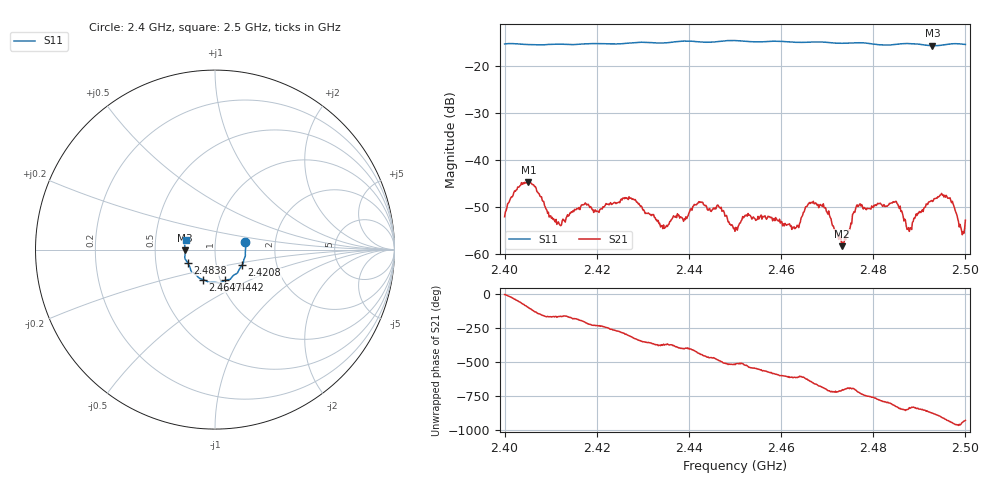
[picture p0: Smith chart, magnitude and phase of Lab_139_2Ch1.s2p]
# Hz S RI R 50
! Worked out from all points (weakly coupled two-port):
!   601 points, 2.4 GHz to 2.5 GHz, reference 50 ohm
!   highest |S21| = -44.77 dB at 2.4052 GHz (marker M1); lowest = -58.4 dB at 2.4732 GHz (marker M2)
!   lowest |S11| = -15.6 dB at 2.4928 GHz (marker M3), VSWR 1.40, Z = 35.8 - j0.364 ohm
!   |S11| at or under -10 dB: start of sweep to end of sweep
!   S12 and S22 are empty: the file has one direction only
!   S11 on the Smith chart (normalised r, x): 2.4 GHz: 1.40, +0.12; 2.4208 GHz: 1.33, -0.24; 2.4442 GHz: 1.05, -0.37; 2.4647 GHz: 0.83, -0.29; 2.4838 GHz: 0.73, -0.11; 2.5 GHz: 0.72, +0.08
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2.4e9  0.168 0.0407  0.00245 -0.000274  0 0  0 0
2.405167e9  0.1702 0.00773  -0.00117 -0.00565  0 0  0 0
2.411833e9  0.1679 -0.0376  -0.00201 -0.000487  0 0  0 0
2.416667e9  0.1586 -0.0683  -0.00316 0.000961  0 0  0 0
2.420833e9  0.1509 -0.0874  -0.00153 0.00256  0 0  0 0
2.4275e9  0.1294 -0.1218  0.00276 0.00276  0 0  0 0
2.433333e9  0.108 -0.1401  0.00211 -0.000782  0 0  0 0
2.444167e9  0.0567 -0.1711  -0.000671 -0.00282  0 0  0 0
2.45e9  0.0244 -0.1866  -0.00162 -0.000611  0 0  0 0
2.462833e9  -0.053 -0.1728  -0.000648 0.00182  0 0  0 0
2.464667e9  -0.0673 -0.1669  -0.000807 0.00242  0 0  0 0
2.466667e9  -0.0803 -0.1625  0.00104 0.00335  0 0  0 0
2.469333e9  -0.0909 -0.1563  0.00271 0.00149  0 0  0 0
2.473167e9  -0.1091 -0.138  0.00117 0.000276  0 0  0 0
2.476667e9  -0.1307 -0.121  0.00318 7.22e-05  0 0  0 0
2.483333e9  -0.1503 -0.0762  0.000616 -0.00324  0 0  0 0
2.483833e9  -0.153 -0.072  0.000356 -0.00343  0 0  0 0
2.487833e9  -0.1679 -0.0486  -0.000682 -0.00158  0 0  0 0
2.492833e9  -0.1656 -0.00494  -0.00322 -0.00159  0 0  0 0
2.496333e9  -0.1701 0.0283  -0.00341 0.0019  0 0  0 0
2.499167e9  -0.1661 0.0466  -0.00119 0.0013  0 0  0 0
2.5e9  -0.1626 0.0527  -0.00203 0.00103  0 0  0 0
